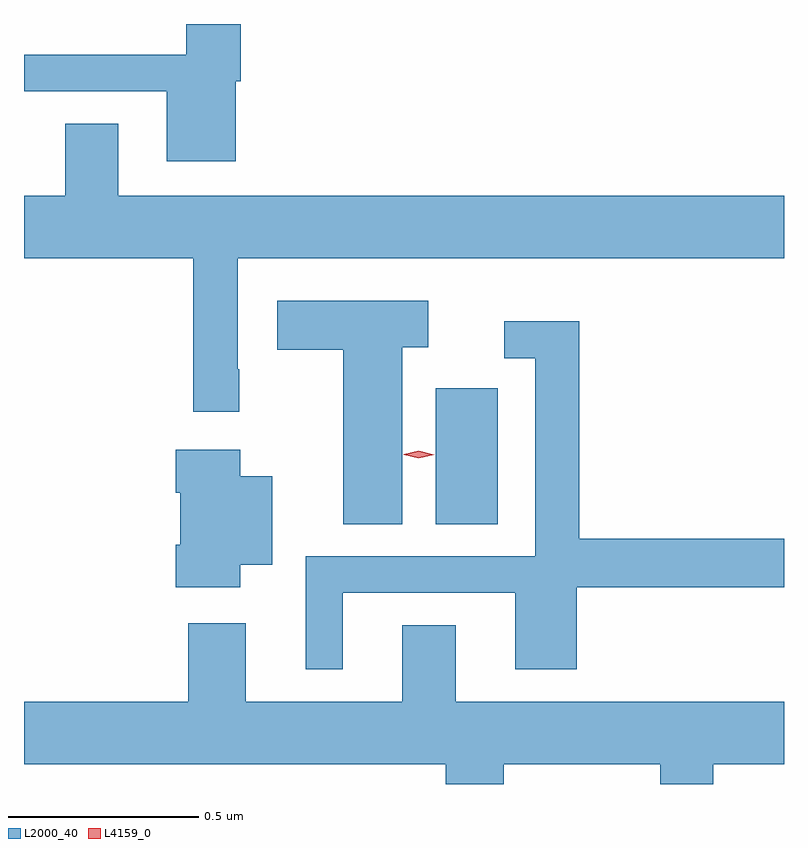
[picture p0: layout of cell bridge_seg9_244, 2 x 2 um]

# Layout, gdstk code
import gdstk
lib = gdstk.Library(unit=1e-6, precision=1e-09)
def R(c, l, rs):  # rectangles x0, y0, x1, y1
    for r in rs: c.add(gdstk.rectangle(r[:2], r[2:], *l))
def P(c, l, *ps):  # polygons
    for p in ps: c.add(gdstk.Polygon(p, *l))
L2000_40 = (2000, 40)
L4159_0 = (4159, 0)

bridge_seg9_244 = lib.new_cell('bridge_seg9_244')
R(bridge_seg9_244, L2000_40, [(338.288,1171.744,338.452,1172.101)])
P(bridge_seg9_244, L2000_40, [(337.762,1172.91),(337.775,1172.91),(337.775,1173.06),(337.632,1173.06),(337.632,1172.979),(337.205,1172.979),(337.205,1172.883),(337.58,1172.883),(337.58,1172.699),(337.762,1172.699)],
  [(337.772,1172.152),(337.767,1172.152),(337.767,1172.444),(339.205,1172.444),(339.205,1172.608),(337.453,1172.608),(337.453,1172.798),(337.313,1172.798),(337.313,1172.608),(337.205,1172.608),(337.205,1172.444),(337.651,1172.444),(337.651,1172.04),(337.772,1172.04)],
  [(338.2,1172.21),(338.269,1172.21),(338.269,1172.332),(337.872,1172.332),(337.872,1172.203),(338.045,1172.203),(338.045,1171.744),(338.2,1171.744)],
  [(338.044,1171.563),(338.498,1171.563),(338.498,1171.362),(338.66,1171.362),(338.66,1171.578),(339.205,1171.578),(339.205,1171.706),(338.666,1171.706),(338.666,1172.278),(338.469,1172.278),(338.469,1172.181),(338.55,1172.181),(338.55,1171.659),(337.946,1171.659),(337.946,1171.362),(338.044,1171.362)],
  [(337.774,1171.637),(337.858,1171.637),(337.858,1171.87),(337.774,1171.87),(337.774,1171.939),(337.604,1171.939),(337.604,1171.826),(337.616,1171.826),(337.616,1171.69),(337.604,1171.69),(337.604,1171.578),(337.774,1171.578)],
  [(338.341,1171.478),(338.201,1171.478),(338.201,1171.276),(337.789,1171.276),(337.789,1171.483),(337.637,1171.483),(337.637,1171.276),(337.205,1171.276),(337.205,1171.112),(338.315,1171.112),(338.315,1171.06),(338.467,1171.06),(338.467,1171.112),(338.879,1171.112),(338.879,1171.06),(339.019,1171.06),(339.019,1171.112),(339.205,1171.112),(339.205,1171.276),(338.341,1171.276)])
P(bridge_seg9_244, L4159_0, [(338.244,1171.917),(338.204,1171.927),(338.204,1171.928),(338.204,1171.928),(338.244,1171.937),(338.284,1171.927),(338.285,1171.927),(338.284,1171.926)])

lib.write_gds('bridge_seg9_244.gds')
